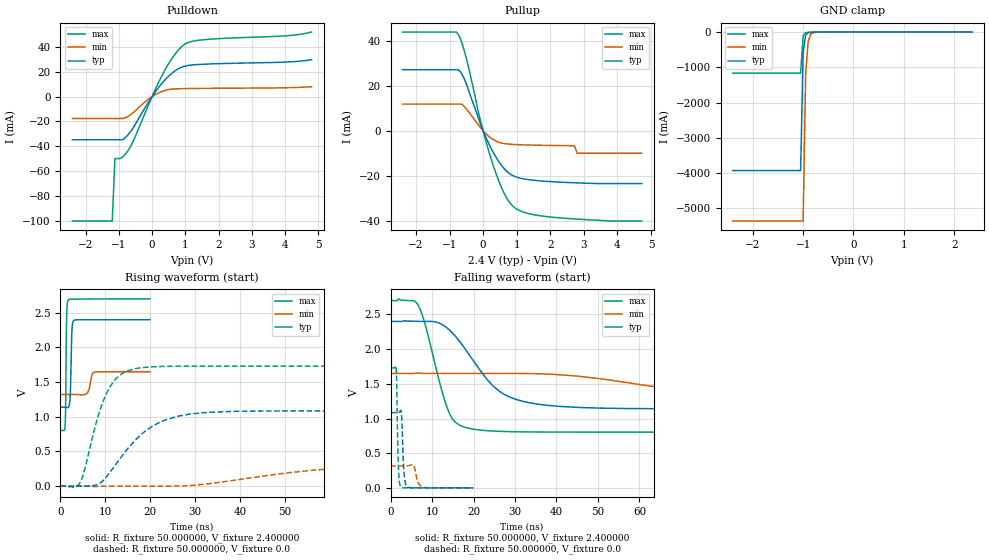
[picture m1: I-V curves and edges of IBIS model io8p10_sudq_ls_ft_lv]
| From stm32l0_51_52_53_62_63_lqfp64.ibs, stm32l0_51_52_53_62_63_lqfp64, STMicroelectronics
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|   Model io8p10_sudq_ls_ft_lv
[Model]  io8p10_sudq_ls_ft_lv
Model_type I/O
Polarity   Non-Inverting
Enable   Active-Low
Vinl =   0.720000V
Vinh =   1.680000V
Vmeas =  1.200000V
Cref =   50.000000pF
Rref =   100.000000M
Vref =   0.0V
C_comp   2.317700pF   2.286600pF   2.332700pF
[Temperature Range]   25.000000   0.105000k   -40.000000
[Pullup Reference]   2.400000V   1.650000V   2.700000V
[Pulldown Reference]   0.0V   0.0V   0.0V
[POWER Clamp Reference]   2.400000V   1.650000V   2.700000V
[GND Clamp Reference]   0.0V   0.0V   0.0V
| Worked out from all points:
|   slope of the pulldown table from 0 to 0.36 V, typ, clamps not added: 28.4 ohm
|   slope of the pullup table from 0 to 0.36 V, typ, clamps not added: 32.2 ohm
|   GND clamp passes 1 mA (typ) near -0.65 V on its own axis
|   rising waveform, R_fixture 50.000000, V_fixture 2.400000: 20-80 % time 276ps typ, 632ps min, 184ps max; typ from 1.14 V to 2.4 V
|   rising waveform, R_fixture 50.000000, V_fixture 0.0: 20-80 % time 9.37ns typ, 24.8ns min, 4.83ns max; typ from 0 V to 1.08 V
|   falling waveform, R_fixture 50.000000, V_fixture 2.400000: 20-80 % time 10.1ns typ, 27.4ns min, 4.97ns max; typ from 2.4 V to 1.14 V
|   falling waveform, R_fixture 50.000000, V_fixture 0.0: 20-80 % time 456ps typ, 833ps min, 355ps max; typ from 1.08 V to 0 V
[Pulldown]
|Voltage   I(typ)   I(min)   I(max)
-2.4V     -34.7mA    -17.61mA   -100mA
-1.2V     -34.7mA    -17.61mA   -100mA
-1.12V    -34.7mA    -17.61mA   -49.77mA
-960mV    -34.7mA    -17.61mA   -49.77mA
-720mV    -30.52mA   -15.81mA   -43.24mA
-560mV    -24.66mA   -12.69mA   -35.31mA
-80mV     -3.3mA     -1.497mA   -4.982mA
320mV     11.47mA    4.39mA     18.08mA
640mV     19.72mA    6.139mA    32.34mA
960mV     24.32mA    6.432mA    41.77mA
1.52V     26.01mA    6.613mA    45.64mA
4.8V      29.64mA    7.944mA    51.92mA
[Pullup]
|Voltage   I(typ)   I(min)   I(max)
-2.4V     27.21mA    11.89mA    44.01mA
-800mV    27.21mA    11.89mA    44.01mA
-720mV    27.06mA    11.89mA    42.53mA
-560mV    23.11mA    10.86mA    35.65mA
-80mV     3.011mA    1.496mA    4.671mA
320mV     -10.16mA   -4.078mA   -16.34mA
640mV     -17.08mA   -5.718mA   -28.28mA
960mV     -20.45mA   -6.129mA   -34.49mA
2V        -22.64mA   -6.529mA   -38.4mA
2.72V     -23.16mA   -6.7mA     -39.27mA
2.8V      -23.2mA    -10mA      -39.35mA
4.72V     -23.5mA    -10mA      -40.2mA
[GND_clamp]
|Voltage   I(typ)   I(min)   I(max)
-2.4V     -3.929A    -5.359A    -1.166A
-1.05V    -3.929A    -5.359A    -1.166A
-1V       -574.5mA   -5.359A    -109.1mA
-950mV    -90.02mA   -1.192A    -18.55mA
-900mV    -18.41mA   -269.7mA   -9.049mA
-850mV    -6.764mA   -63.59mA   -6.579mA
-800mV    -4.027mA   -16.66mA   -4.859mA
-650mV    -1.043mA   -1.218mA   -1.146mA
2.35V     0A         0A         0A
[POWER_clamp]
|Voltage   I(typ)   I(min)   I(max)
-2.4V     0A         0A         0A
0V        0A         0A         0A
[Ramp]
| variable   typ   min   max
dV/dt_r  0.65070/9.36030n   0.18997/24.76198n   1.03800/4.81922n
dV/dt_f  0.75696/10.10042n   0.19686/27.37086n   1.13786/4.96486n
R_load = 50.000000
[Rising Waveform]
R_fixture= 50.000000
V_fixture= 2.400000
V_fixture_min= 1.650000
V_fixture_max= 2.700000
|time   V(typ)   V(min)   V(max)
0s        1.138V     1.322V     803.6mV
1.041ns   1.138V     1.322V     870.2mV
1.161ns   1.137V     1.322V     1.19V
1.361ns   1.134V     1.322V     2.386V
1.722ns   1.133V     1.322V     2.683V
2.122ns   1.249V     1.322V     2.695V
2.563ns   2.246V     1.322V     2.696V
2.963ns   2.387V     1.322V     2.696V
7.608ns   2.399V     1.643V     2.699V
19.94ns   2.4V       1.65V      2.7V
[Rising Waveform]
R_fixture= 50.000000
V_fixture= 0.0
V_fixture_min= 0.0
V_fixture_max= 0.0
|time   V(typ)   V(min)   V(max)
0s        -472.8nV   -2.959uV   -194nV
4.505ns   -904.9uV   98.1uV     64.93mV
8.509ns   31.32mV    -905.1uV   1.033V
11.51ns   241mV      -198.6uV   1.478V
14.01ns   460mV      -201.1uV   1.632V
18.02ns   745.6mV    -191.8uV   1.708V
26.03ns   1.006V     1.047mV    1.729V
39.04ns   1.079V     87.63mV    1.73V
80.58ns   1.085V     302.6mV    1.73V
249.2ns   1.085V     316.6mV    1.73V
[Falling Waveform]
R_fixture= 50.000000
V_fixture= 2.400000
V_fixture_min= 1.650000
V_fixture_max= 2.700000
|time   V(typ)   V(min)   V(max)
0s        2.4V       1.65V      2.7V
6.507ns   2.401V     1.657V     2.65V
8.008ns   2.4V       1.651V     2.424V
14.01ns   2.286V     1.65V      1.098V
16.02ns   2.159V     1.65V      927.6mV
20.52ns   1.784V     1.65V      840.8mV
29.03ns   1.302V     1.65V      810.3mV
45.55ns   1.159V     1.608V     803.9mV
96.1ns    1.138V     1.344V     803.6mV
249.2ns   1.138V     1.322V     803.6mV
[Falling Waveform]
R_fixture= 50.000000
V_fixture= 0.0
V_fixture_min= 0.0
V_fixture_max= 0.0
|time   V(typ)   V(min)   V(max)
0s        1.085V     316.6mV    1.73V
1.321ns   1.085V     316.6mV    1.745V
1.441ns   1.085V     316.6mV    1.586V
1.882ns   1.084V     316.6mV    320mV
2.442ns   1.118V     316.6mV    17.18mV
2.683ns   1.014V     316.6mV    5.904mV
3.203ns   248.1mV    316.4mV    1.705mV
3.924ns   14.55mV    316.4mV    1.473mV
7.928ns   374uV      7.833mV    915.7uV
19.94ns   -472.8nV   -2.959uV   -194nV
